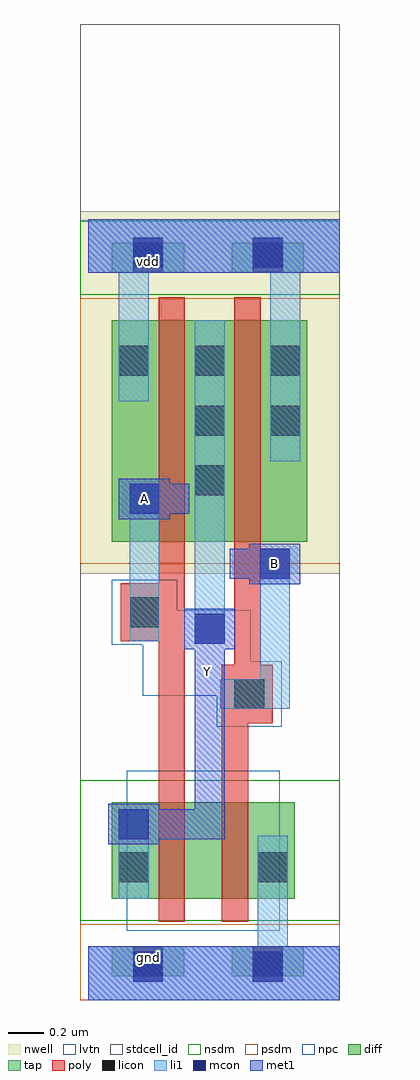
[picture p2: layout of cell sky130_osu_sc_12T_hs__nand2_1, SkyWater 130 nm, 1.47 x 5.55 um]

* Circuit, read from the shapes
.subckt sky130_osu_sc_12T_hs__nand2_1 A B Y gnd vdd
XM1 n1 A Y gnd sky130_fd_pr__nfet_01v8_lvt w=0.55 l=0.15
XM2 gnd B n1 gnd sky130_fd_pr__nfet_01v8_lvt w=0.55 l=0.15
XM3 Y A vdd vdd sky130_fd_pr__pfet_01v8 w=1.26 l=0.15
XM4 vdd B Y vdd sky130_fd_pr__pfet_01v8 w=1.26 l=0.15
.ends

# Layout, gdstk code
import gdstk
lib = gdstk.Library(unit=1e-6, precision=1e-09)
def R(c, l, rs):  # rectangles x0, y0, x1, y1
    for r in rs: c.add(gdstk.rectangle(r[:2], r[2:], *l))
def A(c, l, x, y, w, h, nx, ny, dx, dy):  # array of equal rectangles
    R(c, l, [(x+i*dx, y+j*dy, x+i*dx+w, y+j*dy+h) for i in range(nx) for j in range(ny)])
nwell = (64, 20)
diff = (65, 20)
tap = (65, 44)
poly = (66, 20)
licon = (66, 44)
li1 = (67, 20)
mcon = (67, 44)
met1 = (68, 20)
stdcell_id = (81, 4)
nsdm = (93, 44)
psdm = (94, 20)
npc = (95, 20)
lvtn = (125, 44)

sky130_osu_sc_12t_hs__na = lib.new_cell('sky130_osu_sc_12T_hs__nand2_1')
R(sky130_osu_sc_12t_hs__na, nwell, [(-0.045,2.425,1.43,4.485)])
R(sky130_osu_sc_12t_hs__na, diff, [(0.135,0.575,1.175,1.125), (0.135,2.605,1.245,3.865)])
R(sky130_osu_sc_12t_hs__na, tap, [(0.135,0.135,0.545,0.305), (0.815,0.135,1.225,0.305), (0.135,4.135,0.545,4.305), (0.815,4.135,1.225,4.305)])
R(sky130_osu_sc_12t_hs__na, poly, [(0.4,0.445,0.55,2.04), (0.76,0.445,0.91,1.575), (0.76,1.575,1.05,1.905), (0.83,1.905,0.98,3.995), (0.185,2.04,0.55,2.37), (0.4,2.37,0.55,3.995)])
A(sky130_osu_sc_12t_hs__na, licon, 0.175, 3.55, 0.17, 0.17, 3, 1, 0.43, 0)
R(sky130_osu_sc_12t_hs__na, licon, [(0.255,0.135,0.425,0.305), (0.935,0.135,1.105,0.305), (0.175,0.67,0.345,0.84), (0.965,0.67,1.135,0.84), (0.83,1.655,1,1.825), (0.235,2.12,0.405,2.29), (0.605,2.87,0.775,3.04), (0.605,3.21,0.775,3.38), (1.035,3.21,1.205,3.38), (0.255,4.135,0.425,4.305), (0.935,4.135,1.105,4.305)])
R(sky130_osu_sc_12t_hs__na, li1, [(0,0,1.43,0.305), (0.965,0.305,1.135,0.935), (0.175,0.575,0.345,1.085), (0.75,1.655,1.145,1.825), (0.975,1.825,1.145,2.565), (0.605,2.025,0.775,3.865), (0.235,2.04,0.405,2.935), (1.035,3.065,1.205,4.135), (0.175,3.405,0.345,4.135), (0,4.135,1.43,4.44)])
R(sky130_osu_sc_12t_hs__na, mcon, [(0.255,0.105,0.425,0.275), (0.935,0.105,1.105,0.275), (0.175,0.915,0.345,1.085), (0.605,2.025,0.775,2.195), (0.975,2.395,1.145,2.565), (0.235,2.765,0.405,2.935), (0.255,4.165,0.425,4.335), (0.935,4.165,1.105,4.335)])
R(sky130_osu_sc_12t_hs__na, met1, [(0,0,1.43,0.305), (0.115,0.885,0.405,0.915), (0.115,0.915,0.775,1.085), (0.115,1.085,0.405,1.115), (0.605,1.085,0.775,1.995), (0.545,1.995,0.835,2.225), (0.915,2.365,1.205,2.395), (0.805,2.395,1.205,2.565), (0.915,2.565,1.205,2.595), (0.175,2.735,0.465,2.765), (0.175,2.765,0.575,2.935), (0.175,2.935,0.465,2.965), (0,4.135,1.43,4.44)])
R(sky130_osu_sc_12t_hs__na, stdcell_id, [(-0.045,0,1.43,5.55)])
R(sky130_osu_sc_12t_hs__na, nsdm, [(-0.045,0.45,1.43,1.25), (-0.045,4.01,1.43,4.43)])
R(sky130_osu_sc_12t_hs__na, psdm, [(-0.045,0,1.43,0.43), (-0.045,2.48,1.43,3.99)])
R(sky130_osu_sc_12t_hs__na, npc, [(0.73,1.555,1.1,1.73), (0.31,1.73,1.1,1.925), (0.31,1.925,0.925,2.02), (0.135,2.02,0.925,2.215), (0.135,2.215,0.505,2.39)])
R(sky130_osu_sc_12t_hs__na, lvtn, [(0.22,0.395,1.09,1.305)])
sky130_osu_sc_12t_hs__na.add(gdstk.Label('gnd', (0.34,0.24), layer=68, texttype=16))
sky130_osu_sc_12t_hs__na.add(gdstk.Label('vdd', (0.34,4.2), layer=68, texttype=16))
sky130_osu_sc_12t_hs__na.add(gdstk.Label('Y', (0.68,1.87), layer=68, texttype=5))
sky130_osu_sc_12t_hs__na.add(gdstk.Label('A', (0.32,2.85), layer=68, texttype=5))
sky130_osu_sc_12t_hs__na.add(gdstk.Label('B', (1.06,2.48), layer=68, texttype=5))

lib.write_gds('sky130_osu_sc_12T_hs__nand2_1.gds')
